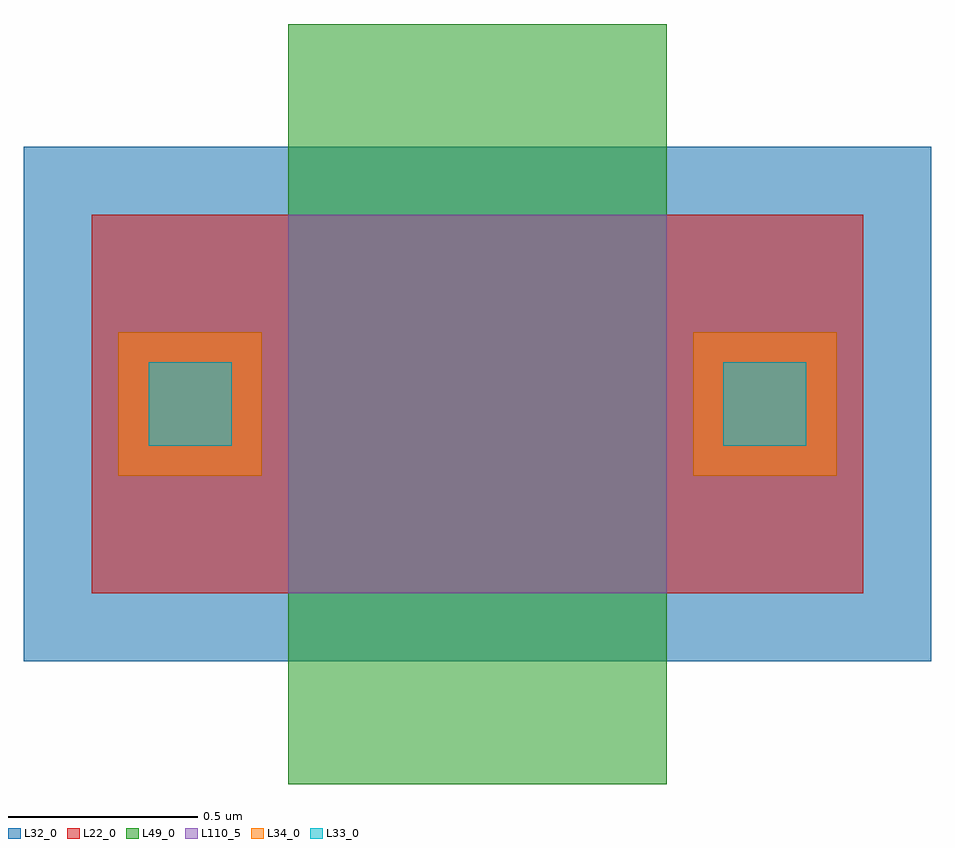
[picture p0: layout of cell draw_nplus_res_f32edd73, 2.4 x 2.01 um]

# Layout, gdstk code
import gdstk
lib = gdstk.Library(unit=1e-6, precision=1e-09)
def R(c, l, rs):  # rectangles x0, y0, x1, y1
    for r in rs: c.add(gdstk.rectangle(r[:2], r[2:], *l))
L22_0 = (22, 0)
L32_0 = (32, 0)
L33_0 = (33, 0)
L34_0 = (34, 0)
L49_0 = (49, 0)
L110_5 = (110, 5)

draw_nplus_res_f32edd73 = lib.new_cell('draw_nplus_res_f32edd73')
R(draw_nplus_res_f32edd73, L22_0, [(-0.52,0,1.52,1)])
R(draw_nplus_res_f32edd73, L32_0, [(-0.7,-0.18,1.7,1.18)])
R(draw_nplus_res_f32edd73, L33_0, [(-0.37,0.39,-0.15,0.61), (1.15,0.39,1.37,0.61)])
R(draw_nplus_res_f32edd73, L34_0, [(-0.45,0.31,-0.07,0.69), (1.07,0.31,1.45,0.69)])
R(draw_nplus_res_f32edd73, L49_0, [(0,-0.505,1,1.505)])
R(draw_nplus_res_f32edd73, L110_5, [(0,0,1,1)])

lib.write_gds('draw_nplus_res_f32edd73.gds')
